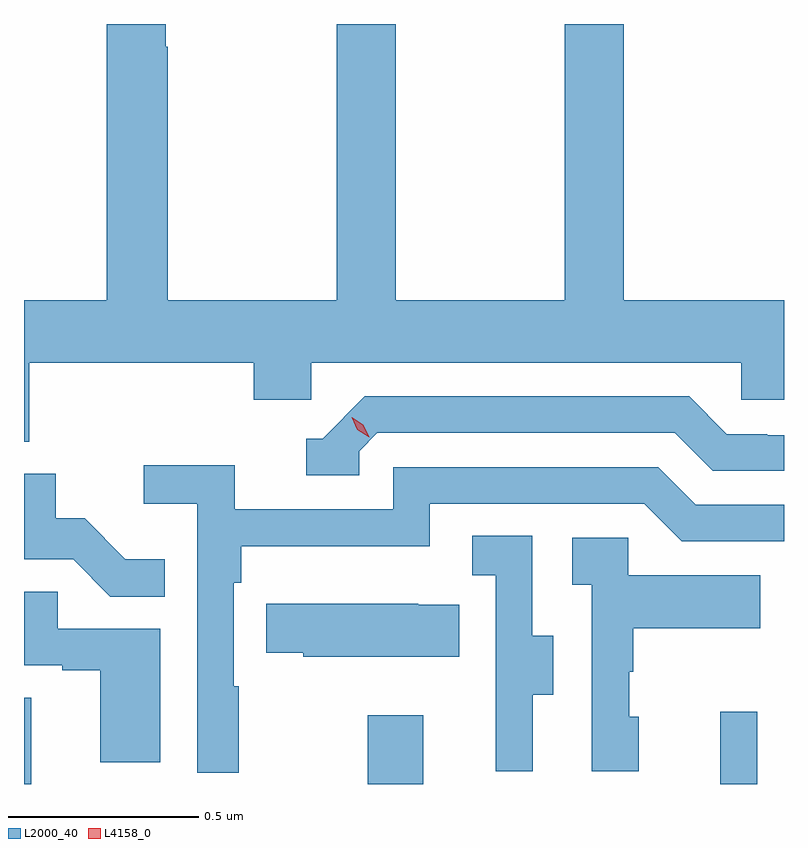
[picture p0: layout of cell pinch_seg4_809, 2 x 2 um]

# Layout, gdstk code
import gdstk
lib = gdstk.Library(unit=1e-6, precision=1e-09)
def R(c, l, rs):  # rectangles x0, y0, x1, y1
    for r in rs: c.add(gdstk.rectangle(r[:2], r[2:], *l))
def P(c, l, *ps):  # polygons
    for p in ps: c.add(gdstk.Polygon(p, *l))
L2000_40 = (2000, 40)
L4158_0 = (4158, 0)

pinch_seg4_809 = lib.new_cell('pinch_seg4_809')
R(pinch_seg4_809, L2000_40, [(805.392,817.023,805.411,817.25), (806.296,817.023,806.443,817.204), (807.224,817.023,807.321,817.213)])
P(pinch_seg4_809, L2000_40, [(805.406,818.132),(805.997,818.132),(805.997,818.034),(806.148,818.034),(806.148,818.132),(807.279,818.132),(807.279,818.034),(807.392,818.034),(807.392,818.296),(806.97,818.296),(806.97,819.023),(806.815,819.023),(806.815,818.296),(806.37,818.296),(806.37,819.023),(806.215,819.023),(806.215,818.296),(805.77,818.296),(805.77,818.963),(805.765,818.963),(805.765,819.023),(805.61,819.023),(805.61,818.296),(805.392,818.296),(805.392,817.924),(805.406,817.924)],
  [(806.274,817.899),(806.322,817.947),(807.105,817.947),(807.204,817.848),(807.392,817.848),(807.392,817.941),(807.348,817.941),(807.348,817.944),(807.241,817.944),(807.142,818.043),(806.289,818.043),(806.178,817.932),(806.135,817.932),(806.135,817.836),(806.274,817.836)],
  [(805.957,817.28),(805.944,817.28),(805.944,817.553),(805.964,817.553),(805.964,817.649),(806.46,817.649),(806.46,817.761),(807.024,817.761),(807.123,817.662),(807.392,817.662),(807.392,817.758),(807.16,817.758),(807.061,817.857),(806.364,817.857),(806.364,817.746),(805.946,817.746),(805.946,817.862),(805.707,817.862),(805.707,817.76),(805.848,817.76),(805.848,817.053),(805.957,817.053)],
  [(805.763,817.615),(805.659,817.615),(805.552,817.722),(805.476,817.722),(805.476,817.839),(805.392,817.839),(805.392,817.614),(805.521,817.614),(805.619,817.516),(805.763,817.516)],
  [(806.731,817.258),(806.785,817.258),(806.785,817.413),(806.73,817.413),(806.73,817.676),(806.571,817.676),(806.571,817.573),(806.634,817.573),(806.634,817.269),(806.633,817.269),(806.633,817.056),(806.731,817.056)],
  [(807.01,817.2),(806.985,817.2),(806.985,817.319),(806.995,817.319),(806.995,817.433),(807.329,817.433),(807.329,817.573),(806.982,817.573),(806.982,817.671),(806.835,817.671),(806.835,817.547),(806.886,817.547),(806.886,817.056),(807.01,817.056)],
  [(805.75,817.431),(805.481,817.431),(805.481,817.529),(805.392,817.529),(805.392,817.335),(805.493,817.335),(805.493,817.323),(805.592,817.323),(805.592,817.08),(805.75,817.08)],
  [(806.537,817.495),(806.429,817.495),(806.429,817.498),(806.029,817.498),(806.029,817.369),(806.127,817.369),(806.127,817.358),(806.537,817.358)])
P(pinch_seg4_809, L4158_0, [(806.3,817.935),(806.269,817.955),(806.254,817.988),(806.254,817.988),(806.254,817.988),(806.285,817.968),(806.3,817.935),(806.3,817.935)])

lib.write_gds('pinch_seg4_809.gds')
